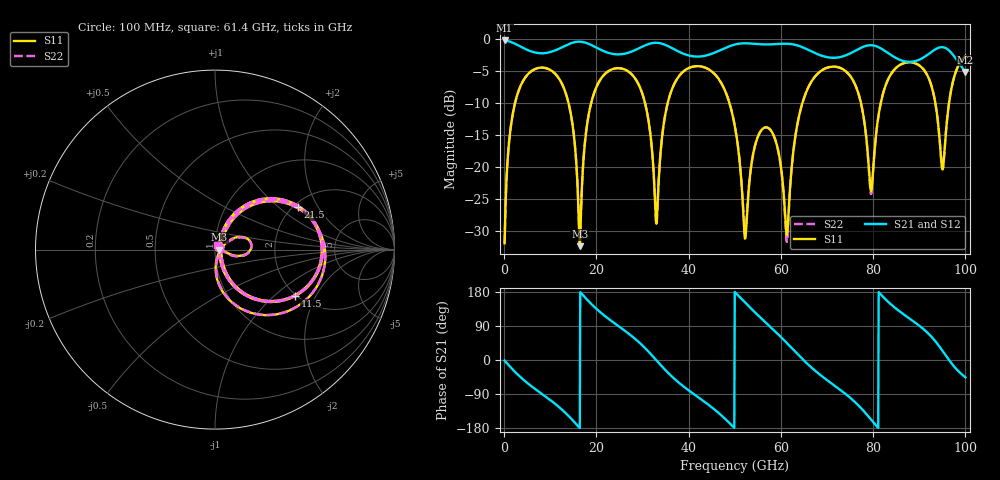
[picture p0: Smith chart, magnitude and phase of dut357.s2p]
! Touchstone file exported from HFSS 2026.1.0
!  File:  C:/ffzhzh/LocalFiles/Ansys_Project_Files/temp_train_TSV_RDL_357_1783709758_44652.aedt
!  Generated:  03:05:00 AM Jul 11, 2026
!  Design:  TSV_RDL
!  Project:  temp_train_TSV_RDL_357_1783709758_44652
! Variables:
!  h_bsmrdl = 2.6um
!  h_ox = 20um
!  h_rdl = 5um
!  h_sub = 88.72um
!  h_tmrdl = 3.1um
!  h_tsv = 88.72um
!  h_via = 3um
!  l_bsmrdl = 505.92um
!  l_sub = 3601.07um
!  l_tmrdl = 386.86um
!  m_sub = 200um
!  pitch = 59.12um
!  r_tsv = 6.24um
!  s_tmrdl = 10um
!  w_bsmrdl = 19.81um
!  w_sub = 500um
!  w_tmrdl = 25.48um
!  x_tsv_center1 = 399.6um
!  x_tsv_center2 = 925.33um
!  x_tsv_center3 = 1337.67um
!  x_tsv_center4 = 1863.4um
!  x_tsv_center5 = 2275.74um
!  x_tsv_center6 = 2801.47um
# GHz S MA R 50.000000
! Terminal data exported
! Port[1] = TM_RDL1_1_T1
! Port[2] = TM_RDL5_1_T1
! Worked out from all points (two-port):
!   1000 points, 100 MHz to 100 GHz, reference 50 ohm
!   highest |S21| = -0.17 dB at 100 MHz (marker M1); lowest = -5.1 dB at 100 GHz (marker M2)
!   |S21| within 3 dB of the highest: start of sweep to 85.69 GHz; 90.03 GHz to 98.09 GHz (8.057 GHz wide, 8.57 % of centre)
!   lowest |S11| = -32.4 dB at 16.4 GHz (marker M3), VSWR 1.05, Z = 52.5 + j0.0426 ohm
!   |S11| at or under -10 dB: 13.97 GHz to 18.85 GHz (4.89 GHz wide, 29.8 % of centre); 30.55 GHz to 35.45 GHz (4.9 GHz wide, 14.8 % of centre); 48.86 GHz to 64.65 GHz (15.8 GHz wide, 27.8 % of centre) (the widest 3 of 6)
!   |S22| runs from -32.1 to -2.6 dB; largest |S21 - S12| = 1.5e-13
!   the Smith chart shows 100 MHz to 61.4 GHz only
!   S11 on the Smith chart (normalised r, x): 100 MHz: 1.04, +0.03; 11.5 GHz: 1.96, -1.38; 21.5 GHz: 2.12, +1.37; 61.4 GHz: 1.03, +0.05
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0.1  0.0253 37.2  0.9801 -1.4  0.9801 -1.4  0.0253 37.2
! Gamma 0 0 0 0
! Port Impedance 50 0 50 0
3.2  0.4013 45.2  0.8915 -41.3  0.8915 -41.3  0.4013 45.2
11.5  0.5157 -30.1  0.832 -120.1  0.832 -120.1  0.5157 -30.1
14.5  0.255 -60.9  0.9327 -154.4  0.9327 -154.4  0.255 -60.7
16.4  0.02404 1.0  0.9589 -179.7  0.9589 -179.7  0.02485 1.0
16.8  0.06182 60.8  0.9563 174.9  0.9563 174.9  0.0622 60.2
21.5  0.5196 27.1  0.8111 119.5  0.8111 119.5  0.5197 27.0
29.2  0.4397 -40.6  0.8504 47.2  0.8504 47.2  0.4397 -40.6
33.4  0.06572 49.9  0.9377 -6.1  0.9377 -6.1  0.06547 50.2
35.3  0.2997 52.1  0.8931 -30.9  0.8931 -30.9  0.2997 52.2
39  0.5657 16.9  0.7682 -70.8  0.7682 -70.8  0.5657 16.9
50.1  0.2012 -83.1  0.9121 178.4  0.9121 178.4  0.2016 -82.4
52.2  0.02756 -34.0  0.9313 152.1  0.9313 152.1  0.0308 -33.4
56.9  0.2045 6.4  0.9118 96.8  0.9118 96.8  0.2046 5.3
61.4  0.03096 58.7  0.9238 43.4  0.9238 43.4  0.02778 60.5
66.7  0.4717 65.3  0.8025 -20.7  0.8025 -20.7  0.4716 65.5
76.4  0.4155 -19.2  0.8238 -114.9  0.8238 -114.9  0.4153 -19.5
79.6  0.06509 28.4  0.8992 -157.9  0.8992 -157.9  0.06181 28.7
83.4  0.4992 56.1  0.774 151.8  0.774 151.8  0.4988 56.5
92.6  0.4378 -20.0  0.7944 62.0  0.7944 62.0  0.4377 -19.8
95.1  0.09626 28.2  0.8679 23.2  0.8679 23.2  0.09702 28.4
100  0.7443 38.9  0.5551 -45.8  0.5551 -45.8  0.7445 39.0
